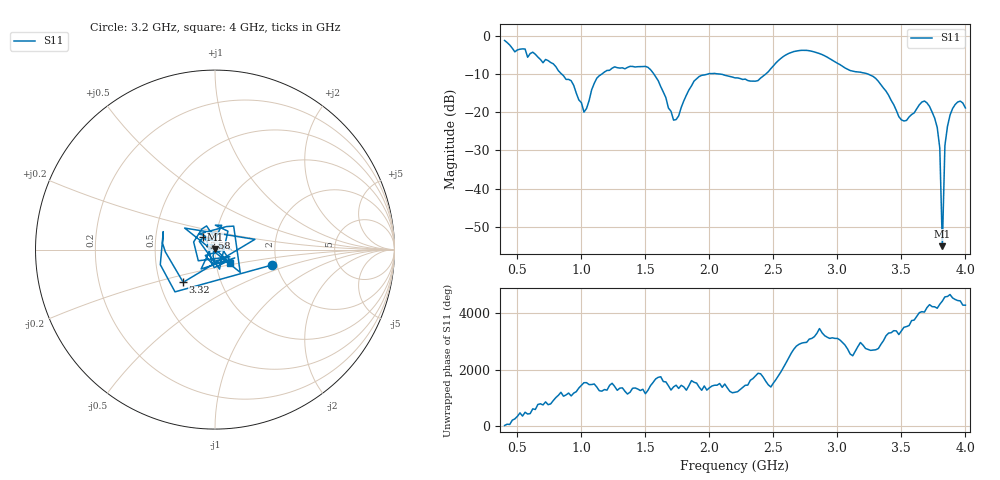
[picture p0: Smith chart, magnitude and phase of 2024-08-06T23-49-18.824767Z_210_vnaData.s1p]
!Created with skrf (http://scikit-rf.org).
# Hz S RI R 50.0
!freq ReS11 ImS11
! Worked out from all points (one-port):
!   181 points, 400 MHz to 4 GHz, reference 50 ohm
!   lowest |S11| = -55.0 dB at 3.82 GHz (marker M1), VSWR 1.00, Z = 50 + j0.17 ohm
!   |S11| at or under -10 dB: 1.566 GHz to 1.987 GHz (420.7 MHz wide, 23.7 % of centre); 2.084 GHz to 2.44 GHz (356.2 MHz wide, 15.7 % of centre); 3.24 GHz to end of sweep (the widest 3 of 4)
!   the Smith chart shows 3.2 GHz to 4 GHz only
!   S11 on the Smith chart (normalised r, x): 3.2 GHz: 1.88, -0.36; 3.32 GHz: 0.66, -0.26; 3.58 GHz: 0.87, +0.12; 4 GHz: 1.17, -0.18
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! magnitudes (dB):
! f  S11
! 400 MHz  -1.2
! 860 MHz  -10.4
! 920 MHz  -11.7
! 1.02 GHz  -19.9
! 1.12 GHz  -11.1
! 1.3 GHz  -8.4
! 1.52 GHz  -8.2
! 1.6 GHz  -11.7
! 1.72 GHz  -22.0
! 1.76 GHz  -20.9
! 1.92 GHz  -10.6
! 2.2 GHz  -11.0
! 2.38 GHz  -11.7
! 2.66 GHz  -4.1
! 3.1 GHz  -9.1
! 3.2 GHz  -9.7
! 3.32 GHz  -11.9
! 3.5 GHz  -22.0
! 3.56 GHz  -21.2
! 3.58 GHz  -20.6
! 3.68 GHz  -17.0
! 3.78 GHz  -24.0
! 3.8 GHz  -29.4
! 3.82 GHz  -55.0
! 3.84 GHz  -28.7
! 3.86 GHz  -23.7
! 3.92 GHz  -18.0
! 4 GHz  -18.9
